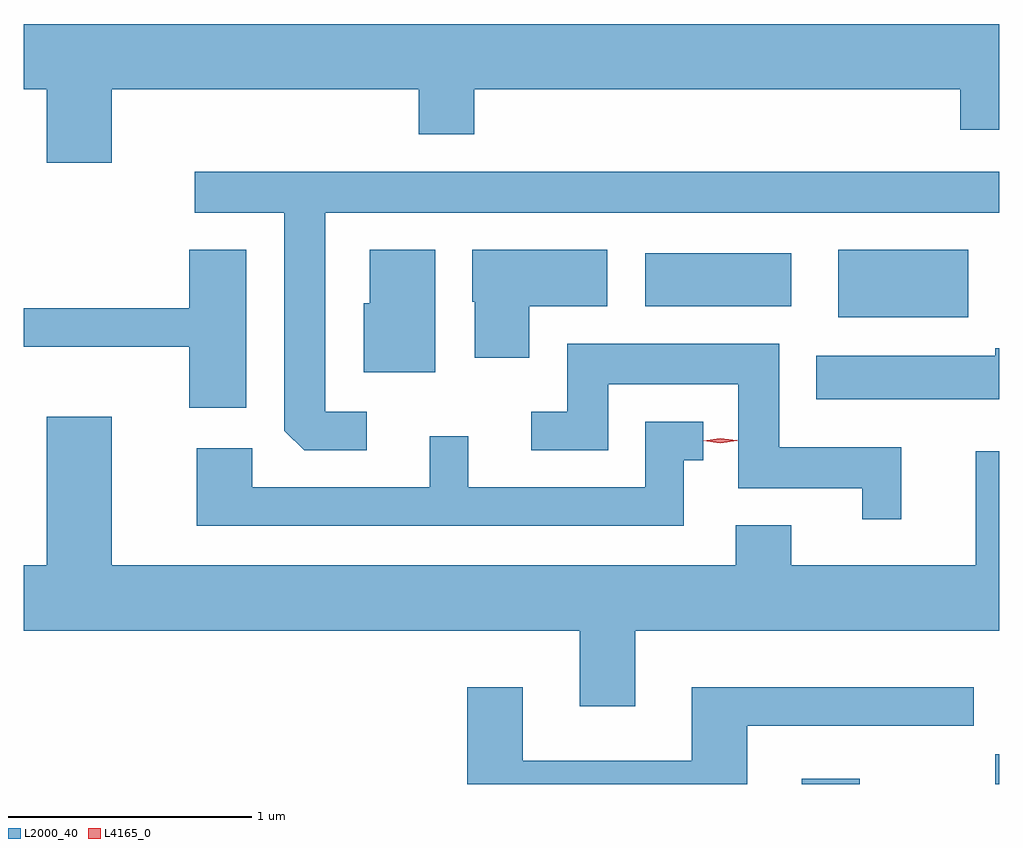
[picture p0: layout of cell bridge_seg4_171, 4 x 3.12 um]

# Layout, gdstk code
import gdstk
lib = gdstk.Library(unit=1e-6, precision=1e-09)
def R(c, l, rs):  # rectangles x0, y0, x1, y1
    for r in rs: c.add(gdstk.rectangle(r[:2], r[2:], *l))
def P(c, l, *ps):  # polygons
    for p in ps: c.add(gdstk.Polygon(p, *l))
L2000_40 = (2000, 40)
L4165_0 = (4165, 0)

bridge_seg4_171 = lib.new_cell('bridge_seg4_171')
R(bridge_seg4_171, L2000_40, [(917.473,1269.688,917.709,1269.709), (918.266,1269.688,918.282,1269.809), (917.621,1271.601,918.154,1271.879), (916.831,1271.646,917.429,1271.864)])
P(bridge_seg4_171, L2000_40, [(914.644,1272.536),(915.901,1272.536),(915.901,1272.351),(916.129,1272.351),(916.129,1272.536),(918.121,1272.536),(918.121,1272.371),(918.282,1272.371),(918.282,1272.804),(914.282,1272.804),(914.282,1272.536),(914.376,1272.536),(914.376,1272.236),(914.644,1272.236)],
  [(915.688,1271.214),(915.519,1271.214),(915.519,1272.031),(918.282,1272.031),(918.282,1272.199),(914.983,1272.199),(914.983,1272.031),(915.351,1272.031),(915.351,1271.137),(915.432,1271.056),(915.688,1271.056)],
  [(915.969,1271.879),(915.701,1271.879),(915.701,1271.659),(915.676,1271.659),(915.676,1271.376),(915.969,1271.376)],
  [(916.354,1271.646),(916.674,1271.646),(916.674,1271.879),(916.121,1271.879),(916.121,1271.665),(916.131,1271.665),(916.131,1271.436),(916.354,1271.436)],
  [(915.194,1271.879),(914.961,1271.879),(914.961,1271.639),(914.282,1271.639),(914.282,1271.481),(914.961,1271.481),(914.961,1271.231),(915.194,1271.231)],
  [(917.879,1271.069),(917.379,1271.069),(917.379,1271.494),(916.511,1271.494),(916.511,1271.214),(916.363,1271.214),(916.363,1271.056),(916.679,1271.056),(916.679,1271.326),(917.211,1271.326),(917.211,1270.901),(917.721,1270.901),(917.721,1270.773),(917.879,1270.773)],
  [(918.282,1271.474),(918.266,1271.474),(918.266,1271.444),(917.531,1271.444),(917.531,1271.266),(918.282,1271.266)],
  [(916.789,1270.316),(918.282,1270.316),(918.282,1271.053),(918.186,1271.053),(918.186,1270.584),(917.429,1270.584),(917.429,1270.749),(917.201,1270.749),(917.201,1270.584),(914.644,1270.584),(914.644,1271.194),(914.376,1271.194),(914.376,1270.584),(914.282,1270.584),(914.282,1270.316),(916.561,1270.316),(916.561,1270.006),(916.789,1270.006)],
  [(916.989,1271.016),(917.068,1271.016),(917.068,1271.174),(916.831,1271.174),(916.831,1270.904),(916.104,1270.904),(916.104,1271.113),(915.946,1271.113),(915.946,1270.904),(915.219,1270.904),(915.219,1271.064),(914.991,1271.064),(914.991,1270.746),(916.989,1270.746)],
  [(917.249,1269.926),(918.178,1269.926),(918.178,1270.084),(917.021,1270.084),(917.021,1269.784),(916.329,1269.784),(916.329,1270.084),(916.101,1270.084),(916.101,1269.688),(917.249,1269.688)])
P(bridge_seg4_171, L4165_0, [(917.138,1271.086),(917.069,1271.095),(917.069,1271.096),(917.069,1271.096),(917.138,1271.106),(917.208,1271.097),(917.208,1271.096),(917.208,1271.096)])

lib.write_gds('bridge_seg4_171.gds')
